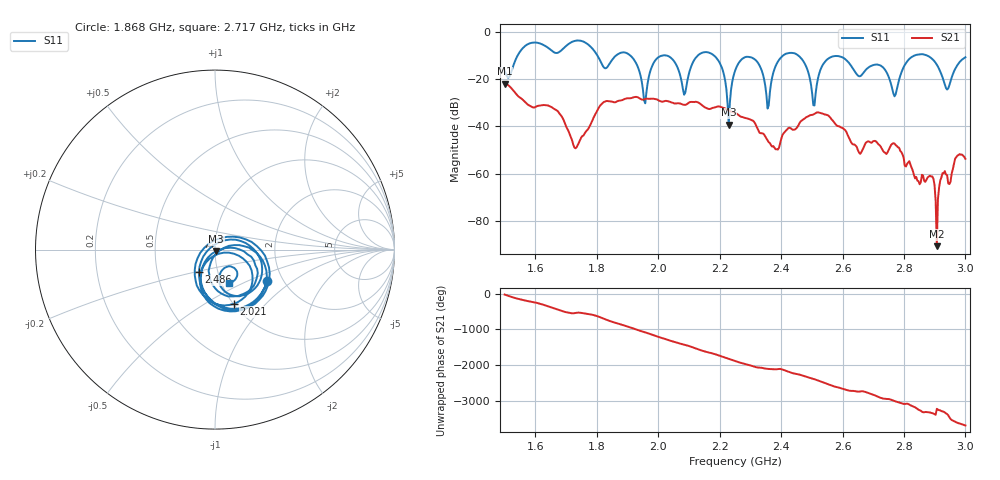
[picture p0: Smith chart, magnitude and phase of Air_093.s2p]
# HZ S RI R 50
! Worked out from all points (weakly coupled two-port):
!   404 points, 1.5 GHz to 3 GHz, reference 50 ohm
!   highest |S21| = -21.90 dB at 1.5 GHz (marker M1); lowest = -90.7 dB at 2.907 GHz (marker M2)
!   lowest |S11| = -39.3 dB at 2.23 GHz (marker M3), VSWR 1.02, Z = 50.6 - j0.898 ohm
!   |S11| at or under -10 dB: 2.182 GHz to 2.406 GHz (224.9 MHz wide, 9.8 % of centre); 2.456 GHz to 2.834 GHz (378.3 MHz wide, 14.3 % of centre); 2.875 GHz to end of sweep (the widest 3 of 7)
!   S12 and S22 are empty: the file has one direction only
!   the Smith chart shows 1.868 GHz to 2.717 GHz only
!   S11 on the Smith chart (normalised r, x): 1.868 GHz: 1.65, -0.65; 2.021 GHz: 1.01, -0.68; 2.486 GHz: 0.81, -0.21; 2.717 GHz: 1.09, -0.42
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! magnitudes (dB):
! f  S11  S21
! 1.5 GHz  -16.3  -21.9
! 1.582 GHz  -4.8  -31.2
! 1.753 GHz  -3.9  -44.1
! 1.868 GHz  -9.4  -29.3
! 1.958 GHz  -30.2  -28.3
! 2.002 GHz  -10.6  -29.1
! 2.021 GHz  -9.9  -29.3
! 2.084 GHz  -26.6  -30.9
! 2.177 GHz  -9.6  -32.1
! 2.23 GHz  -39.3  -33.3
! 2.252 GHz  -15.9  -34.4
! 2.315 GHz  -11.7  -38.7
! 2.356 GHz  -32.4  -45.9
! 2.386 GHz  -13.4  -49.7
! 2.486 GHz  -16.2  -35.8
! 2.501 GHz  -26.1  -35.1
! 2.561 GHz  -10.7  -36.4
! 2.717 GHz  -13.9  -47.6
! 2.751 GHz  -19.2  -49.9
! 2.907 GHz  -13.9  -90.7
! 2.94 GHz  -24.4  -60.6
! 3 GHz  -10.7  -53.7
